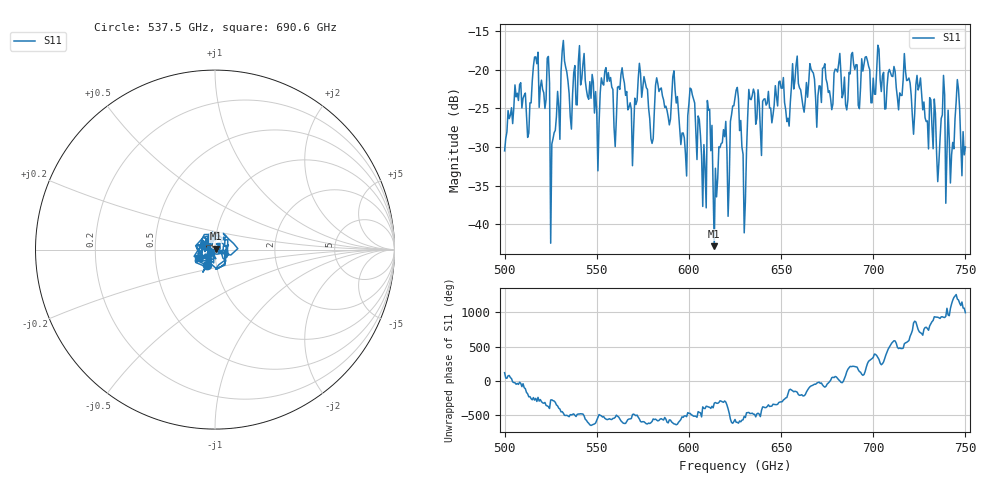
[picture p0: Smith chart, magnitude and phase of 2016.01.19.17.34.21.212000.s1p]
!Created with skrf (http://scikit-rf.org).
# GHz S RI R 50.0
!freq ReS11 ImS11
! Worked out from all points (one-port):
!   401 points, 500 GHz to 750 GHz, reference 50 ohm
!   lowest |S11| = -42.8 dB at 613.8 GHz (marker M1), VSWR 1.01, Z = 50.6 + j0.453 ohm
!   |S11| at or under -10 dB: start of sweep to end of sweep
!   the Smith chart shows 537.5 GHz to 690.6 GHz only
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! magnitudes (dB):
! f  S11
! 500 GHz  -30.5
! 506.9 GHz  -23.1
! 513.1 GHz  -28.2
! 516.9 GHz  -18.4
! 523.1 GHz  -18.5
! 526.2 GHz  -29.0
! 531.2 GHz  -17.6
! 550 GHz  -25.5
! 562.5 GHz  -22.6
! 568.8 GHz  -25.1
! 573.8 GHz  -20.5
! 579.4 GHz  -28.9
! 583.1 GHz  -21.8
! 593.8 GHz  -23.5
! 597.5 GHz  -28.8
! 601.9 GHz  -23.3
! 608.1 GHz  -29.7
! 611.2 GHz  -25.1
! 613.8 GHz  -42.8
! 625 GHz  -23.6
! 630 GHz  -41.1
! 633.8 GHz  -23.9
! 656.2 GHz  -19.2
! 687.5 GHz  -20.6
! 718.8 GHz  -21.3
! 735 GHz  -34.5
! 745.6 GHz  -21.3
! 750 GHz  -30.0
